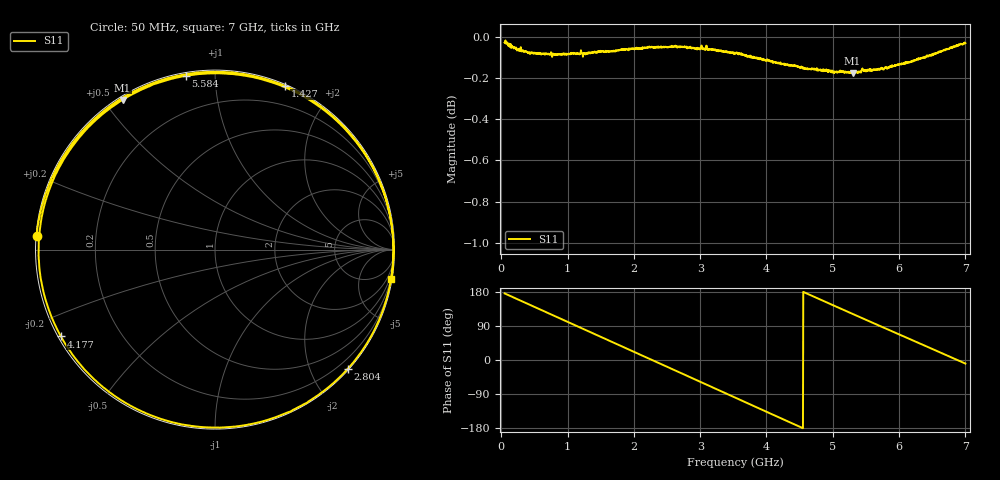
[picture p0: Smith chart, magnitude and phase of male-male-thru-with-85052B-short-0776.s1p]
! This is a Touchstone .s1p format file
! It should be saved with .s1p extension.
! HEWLETT PACKARD,8720D,0,7.74
! Date =  2 Feb 2024
! Time = 13:46:26
! S11 measured = FALSE
! S21 measured = FALSE
! S12 measured = FALSE
! S22 measured = TRUE
! Start frequency = 0.050000000 GHz
! Centre frequency  = 3.524999936 GHz
! Stop frequency  = 7.000000000 GHz
! IF bandwidth = 300 Hz
! Smoothing = OFF
! Smoothing aperture = 1.000000 %
! Averaging = OFF
! Averaging factor = 16
! Source power = On
! Source power = Auto mode
! Output power level = 5.000000 dBm
! Retrace power = Off
! Testset switching = Continuous
! Number of sweeps for test set switching (0=hold, 1=continuous,2-999 = number of sweeps) = 1
! Step sweep = On (check)
! List frequency sweep = Off (check)
! IFBW setting for a list-frequency table in swept list mode = Disabled (Check)
! Power setting for a list-frequency table in swept list mode = Disabled (Check)
! Measurement mode = Chop A and B
! Port extensions = OFF
! Port extension 1 = 0.000000 ps
! Port extension 2 = 109.719997 ps
! Points  = 1601
! Calibration kit = 3.5 mm E
! Power = 5.000000 dBm
! Frequency magS22 angS22
! Magnitudes are in log form
! Angles are in degrees
# MHz S DB R 50
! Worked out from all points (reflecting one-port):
!   1601 points, 50 MHz to 7 GHz, reference 50 ohm
!   lowest |S11| = -0.2 dB at 5.297 GHz (marker M1), VSWR 98.82, Z = 0.663 + j27.9 ohm
!   phase of S11 starts at 176 deg and turns -545 deg over the sweep
!   S11 on the Smith chart (normalised r, x): 50 MHz: 0.00, +0.04; 1.427 GHz: 0.01, +1.52; 2.804 GHz: 0.02, -2.61; 4.177 GHz: 0.01, -0.26; 5.584 GHz: 0.02, +0.85; 7 GHz: 0, -12
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50  -0.03 175.7
453.9688  -0.08 143.7
692.875  -0.08 124.8
918.75  -0.09 106.9
1175.031  -0.08 86.6
1426.969  -0.07 66.8
1787.5  -0.06 38.3
2009.031  -0.06 20.9
2226.219  -0.05 3.8
2439.062  -0.05 -13.0
2656.25  -0.05 -30.2
2803.938  -0.06 -41.9
3173.156  -0.06 -71.1
3525  -0.08 -99.0
3833.406  -0.10 -123.4
4176.562  -0.12 -150.6
4393.75  -0.14 -167.7
4602.25  -0.15 175.9
4810.75  -0.16 159.6
5023.594  -0.17 143.0
5262.5  -0.17 124.4
5297.25  -0.18 121.7
5583.938  -0.16 99.5
5857.594  -0.15 78.5
6131.25  -0.12 57.5
6587.344  -0.08 22.5
6795.844  -0.05 6.3
7000  -0.03 -9.4
